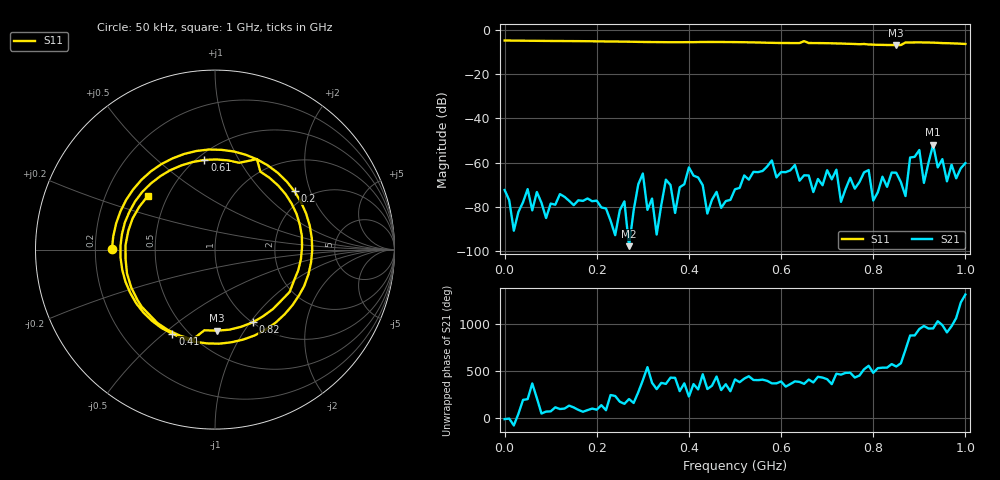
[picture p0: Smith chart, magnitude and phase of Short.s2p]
# HZ S RI R 50
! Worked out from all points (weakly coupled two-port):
!   101 points, 50 kHz to 1 GHz, reference 50 ohm
!   highest |S21| = -51.83 dB at 930 MHz (marker M1); lowest = -97.8 dB at 270 MHz (marker M2)
!   lowest |S11| = -6.9 dB at 850 MHz (marker M3), VSWR 2.65, Z = 33.7 - j38.2 ohm
!   |S11| at or under -10 dB: nowhere
!   S12 and S22 are empty: the file has one direction only
!   S11 on the Smith chart (normalised r, x): 50 kHz: 0.27, +0.00; 200 MHz: 1.68, +1.56; 410 MHz: 0.41, -0.54; 610 MHz: 0.54, +0.73; 820 MHz: 1.00, -1.03; 1 GHz: 0.39, +0.30
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50000  -0.5747 0.00182  0.000231 -6.59e-05  0 0  0 0
1.700415e8  0.2945 0.469  6.29e-05 0.000121  0 0  0 0
2.0004e8  0.4432 0.3243  1.14e-05 0.000137  0 0  0 0
2.700365e8  0.5206 -0.138  -1.23e-05 -4.09e-06  0 0  0 0
3.00035e8  0.4327 -0.3086  0.000438 0.00036  0 0  0 0
3.100345e8  0.3876 -0.3608  -8.54e-05 2.53e-07  0 0  0 0
3.40033e8  0.2195 -0.4788  0.000108 2.14e-05  0 0  0 0
4.100295e8  -0.2375 -0.4691  0.000508 -1.33e-05  0 0  0 0
4.40028e8  -0.399 -0.3506  4.11e-05 -5.74e-05  0 0  0 0
5.00025e8  -0.5269 0.0192  0.000165 0.000188  0 0  0 0
6.100195e8  -0.0591 0.4997  0.000534 -0.000291  0 0  0 0
6.700165e8  0.3045 0.3993  0.000207 5.99e-05  0 0  0 0
8.20009e8  0.2102 -0.4055  -0.000477 5.28e-05  0 0  0 0
8.40008e8  0.0805 -0.4461  -0.000505 -0.000314  0 0  0 0
8.500075e8  0.0108 -0.4516  -0.000586 -6.34e-05  0 0  0 0
8.700065e8  -0.1247 -0.501  0.000175 1.67e-05  0 0  0 0
8.80006e8  -0.1942 -0.4799  -0.0012 0.000494  0 0  0 0
9.00005e8  -0.321 -0.4092  -0.00132 -0.0014  0 0  0 0
9.100045e8  -0.4082 -0.3186  -6.4e-05 -0.000342  0 0  0 0
9.300035e8  -0.4667 -0.2112  -0.00153 -0.00205  0 0  0 0
9.60002e8  -0.4983 0.027  -0.00037 -7.04e-05  0 0  0 0
1e9  -0.3747 0.2986  -0.000554 -0.000801  0 0  0 0
